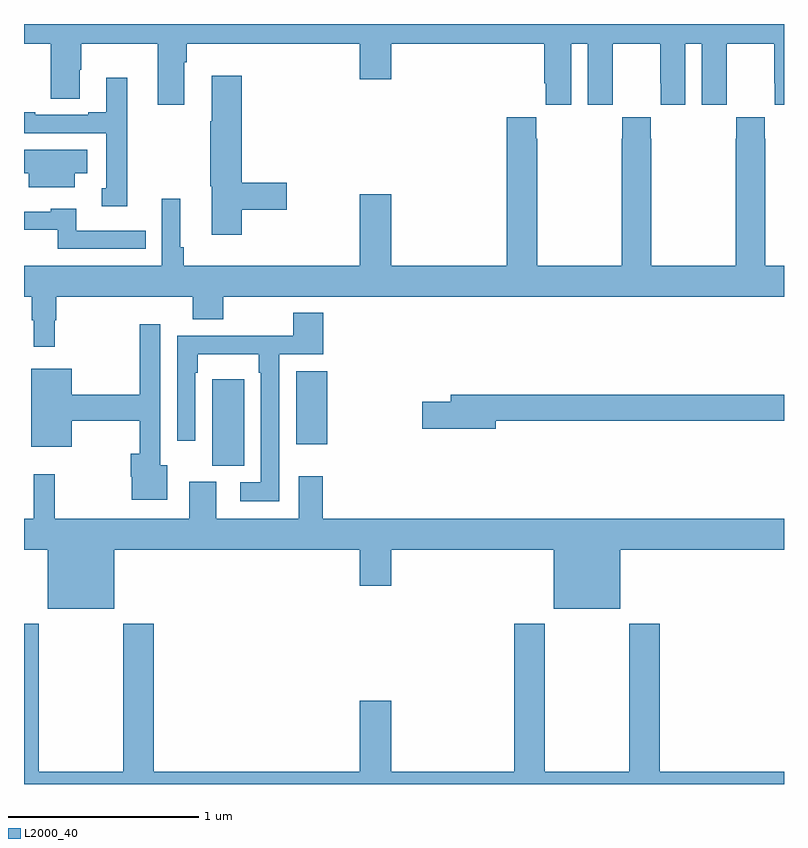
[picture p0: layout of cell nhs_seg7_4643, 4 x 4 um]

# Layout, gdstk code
import gdstk
lib = gdstk.Library(unit=1e-6, precision=1e-09)
def R(c, l, rs):  # rectangles x0, y0, x1, y1
    for r in rs: c.add(gdstk.rectangle(r[:2], r[2:], *l))
def P(c, l, *ps):  # polygons
    for p in ps: c.add(gdstk.Polygon(p, *l))
L2000_40 = (2000, 40)

nhs_seg7_4643 = lib.new_cell('nhs_seg7_4643')
R(nhs_seg7_4643, L2000_40, [(403.991,1051.676,404.158,1052.131), (404.432,1051.787,404.596,1052.173)])
P(nhs_seg7_4643, L2000_40, [(406.098,1053.688),(406.099,1053.688),(406.099,1053.896),(406.349,1053.896),(406.349,1053.688),(406.35,1053.688),(406.35,1053.576),(406.48,1053.576),(406.48,1053.896),(406.568,1053.896),(406.568,1053.576),(406.698,1053.576),(406.698,1053.688),(406.699,1053.688),(406.699,1053.896),(406.949,1053.896),(406.949,1053.688),(406.95,1053.688),(406.95,1053.576),(407,1053.576),(407,1054),(403,1054),(403,1053.896),(403.142,1053.896),(403.142,1053.607),(403.294,1053.607),(403.294,1053.758),(403.302,1053.758),(403.302,1053.896),(403.703,1053.896),(403.703,1053.576),(403.843,1053.576),(403.843,1053.8),(403.856,1053.8),(403.856,1053.896),(404.768,1053.896),(404.768,1053.708),(404.932,1053.708),(404.932,1053.896),(405.737,1053.896),(405.737,1053.688),(405.746,1053.688),(405.746,1053.576),(405.88,1053.576),(405.88,1053.896),(405.968,1053.896),(405.968,1053.576),(406.098,1053.576)],
  [(404.147,1053.022),(404.383,1053.022),(404.383,1053.164),(404.147,1053.164),(404.147,1053.727),(403.988,1053.727),(403.988,1053.488),(403.981,1053.488),(403.981,1053.147),(403.988,1053.147),(403.988,1052.892),(404.147,1052.892)],
  [(403.543,1053.718),(403.433,1053.718),(403.433,1053.535),(403.337,1053.535),(403.337,1053.522),(403.058,1053.522),(403.058,1053.535),(403,1053.535),(403,1053.426),(403.434,1053.426),(403.434,1053.135),(403.409,1053.135),(403.409,1053.041),(403.543,1053.041)],
  [(403.162,1052.441),(403.169,1052.441),(403.169,1052.564),(403.889,1052.564),(403.889,1052.447),(404.049,1052.447),(404.049,1052.564),(407,1052.564),(407,1052.728),(406.902,1052.728),(406.902,1053.395),(406.899,1053.395),(406.899,1053.508),(406.749,1053.508),(406.749,1053.395),(406.747,1053.395),(406.747,1052.728),(406.302,1052.728),(406.302,1053.395),(406.299,1053.395),(406.299,1053.508),(406.149,1053.508),(406.149,1053.395),(406.147,1053.395),(406.147,1052.728),(405.702,1052.728),(405.702,1053.395),(405.695,1053.395),(405.695,1053.508),(405.542,1053.508),(405.542,1052.728),(404.932,1052.728),(404.932,1053.103),(404.768,1053.103),(404.768,1052.728),(403.841,1052.728),(403.841,1052.824),(403.822,1052.824),(403.822,1053.079),(403.725,1053.079),(403.725,1052.728),(403,1052.728),(403,1052.564),(403.041,1052.564),(403.041,1052.441),(403.052,1052.441),(403.052,1052.301),(403.162,1052.301)],
  [(403.267,1053.215),(403.333,1053.215),(403.333,1053.337),(403,1053.337),(403,1053.215),(403.025,1053.215),(403.025,1053.14),(403.267,1053.14)],
  [(403.64,1052.913),(403.276,1052.913),(403.276,1053.028),(403.14,1053.028),(403.14,1053.012),(403,1053.012),(403,1052.916),(403.177,1052.916),(403.177,1052.817),(403.64,1052.817)],
  [(404.343,1052.262),(404.576,1052.262),(404.576,1052.479),(404.416,1052.479),(404.416,1052.36),(404.15,1052.36),(404.15,1052.358),(403.806,1052.358),(403.806,1051.806),(403.902,1051.806),(403.902,1052.165),(403.915,1052.165),(403.915,1052.261),(404.235,1052.261),(404.235,1052.165),(404.247,1052.165),(404.247,1051.588),(404.139,1051.588),(404.139,1051.487),(404.343,1051.487)],
  [(403.753,1051.678),(403.716,1051.678),(403.716,1052.419),(403.608,1052.419),(403.608,1052.048),(403.252,1052.048),(403.252,1052.185),(403.037,1052.185),(403.037,1051.775),(403.252,1051.775),(403.252,1051.912),(403.608,1051.912),(403.608,1051.738),(403.561,1051.738),(403.561,1051.617),(403.568,1051.617),(403.568,1051.496),(403.753,1051.496)],
  [(405.484,1051.912),(407,1051.912),(407,1052.048),(405.245,1052.048),(405.245,1052.012),(405.096,1052.012),(405.096,1051.87),(405.484,1051.87)],
  [(403.474,1051.232),(404.768,1051.232),(404.768,1051.044),(404.932,1051.044),(404.932,1051.232),(405.788,1051.232),(405.788,1050.923),(406.138,1050.923),(406.138,1051.232),(407,1051.232),(407,1051.396),(404.573,1051.396),(404.573,1051.621),(404.447,1051.621),(404.447,1051.396),(404.011,1051.396),(404.011,1051.591),(403.871,1051.591),(403.871,1051.396),(403.162,1051.396),(403.162,1051.63),(403.052,1051.63),(403.052,1051.396),(403,1051.396),(403,1051.232),(403.124,1051.232),(403.124,1050.923),(403.474,1050.923)],
  [(407,1050.064),(406.346,1050.064),(406.346,1050.844),(406.186,1050.844),(406.186,1050.064),(405.741,1050.064),(405.741,1050.844),(405.581,1050.844),(405.581,1050.064),(404.932,1050.064),(404.932,1050.439),(404.768,1050.439),(404.768,1050.064),(403.682,1050.064),(403.682,1050.844),(403.522,1050.844),(403.522,1050.064),(403.077,1050.064),(403.077,1050.844),(403,1050.844),(403,1050),(407,1050)])

lib.write_gds('nhs_seg7_4643.gds')
